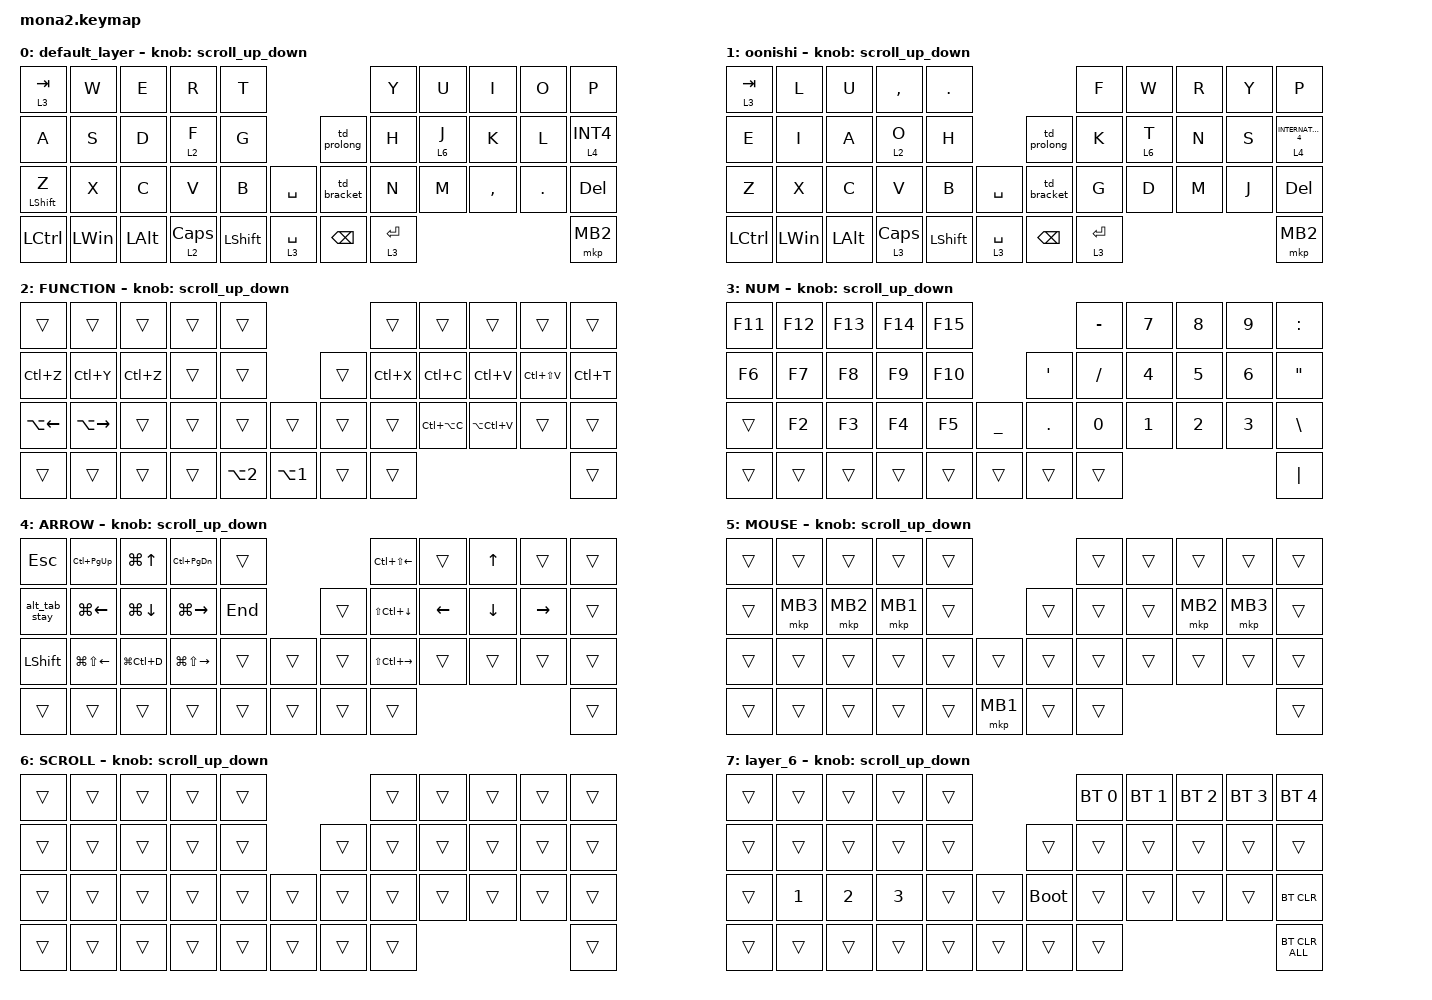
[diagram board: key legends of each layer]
// moNa2 用キーマップ（roBa のキーマップを移植）
//
// レイヤー構成は roBa と同じ:
//   0 default / 1 oonishi(大西) / 2 FUNCTION / 3 NUM / 4 ARROW / 5 MOUSE / 6 SCROLL / 7 BT
//
// roBa との違い:
//   - moNa2 には roBa の「左手中段の内側キー（roBa では MB3）」が無いので、その列を抜いている
//     → コンボのキー番号は 16 番以降を 1 つずつ詰めている
//   - トラボの自動マウス(5)・スクロール(6)の設定は keymap ではなく
//     boards/shields/mona2/mona2_r.overlay 側で設定している（moNa2 は &trackball が無いため）
// OS設定を日本語キーボードのまま使用するための変換定義

#define JP_DQUOTE       AT                // "
#define JP_AMPERSAND    CARET             // &
#define JP_QUOTE        AMPERSAND         // '
#define JP_EQUAL        UNDER             // =
#define JP_CARET        EQUAL             // ^
#define JP_YEN          0x89              // ¥
#define JP_PLUS         COLON             // +
#define JP_TILDE        PLUS              // ~
#define JP_PIPE         LS(0x89)          // |
#define JP_AT           LEFT_BRACKET      // @
#define JP_COLON        SINGLE_QUOTE      // :
#define JP_ASTERISK     DOUBLE_QUOTES     // *
#define JP_BACKQUOTE    LEFT_BRACE        // `
#define JP_UNDERSCORE   LS(0x87)          // _
#define JP_LBRACKET     RIGHT_BRACKET     // [
#define JP_RBRACKET     BACKSLASH         // ]
#define JP_LPAREN       ASTERISK          // (
#define JP_RPAREN       LEFT_PARENTHESIS  // )
#define JP_LBRACE       RIGHT_BRACE       // {
#define JP_RBRACE       PIPE              // }
#define JP_KANA         LANGUAGE_1        // かな
#define JP_EISU         LANGUAGE_2        // 英数
#define JP_HANZEN       GRAVE             // 半角/全角

// エンコーダーのスクロール量（pointing.h より前に書く必要がある）

#define ZMK_POINTING_DEFAULT_SCRL_VAL 100

#include <input/processors.dtsi>
#include <dt-bindings/zmk/input_transform.h>
#include <zephyr/dt-bindings/input/input-event-codes.h>
#include <behaviors.dtsi>
#include <dt-bindings/zmk/bt.h>
#include <dt-bindings/zmk/keys.h>
#include <dt-bindings/zmk/pointing.h>

&mt {
    flavor = "balanced";
    quick-tap-ms = <0>;
};

/ {
    combos {
        compatible = "zmk,combos";

        tab {
            bindings = <&kp TAB>;
            key-positions = <11 12>;
        };

        shift_tab {
            bindings = <&kp LS(TAB)>;
            key-positions = <12 13>;
        };

        muhennkann {
            bindings = <&to_layer_0 INT_MUHENKAN>;
            key-positions = <11 10>;
        };

        // L + 右端(INT4)

        double_quotation {
            bindings = <&kp DOUBLE_QUOTES>;
            key-positions = <19 20>;
        };

        // C + V

        eq {
            bindings = <&kp EQUAL>;
            key-positions = <23 24>;
        };

        attoma-ku {
            bindings = <&kp AT_SIGN>;
            key-positions = <8 9>;
        };

        // 左下段の内側(SPACE) + COMMA で BT レイヤー

        layer6 {
            bindings = <&mo 7>;
            key-positions = <27 30>;
        };

        // 標準(0)から大西(1)へ

        combo_to_onishi {
            timeout-ms = <50>;
            key-positions = <27 26>;
            bindings = <&to_onishi 1>;
            layers = <0 1>;
        };

        // 大西(1)から標準(0)へ
        // 大西配置(1)をOFFにすることで、下のレイヤー0を露出させる

        combo_to_default {
            timeout-ms = <50>;
            key-positions = <4 3>;
            bindings = <&to_default 1>;
            layers = <0 1>;
        };
    };

    macros {
        to_layer_0: to_layer_0 {
            compatible = "zmk,behavior-macro-one-param";
            #binding-cells = <1>;
            bindings = <&to 0 &macro_param_1to1 &kp MACRO_PLACEHOLDER>;
            label = "TO_LAYER_0";
        };

        // ( )

        parenthesis: parenthesis {
            compatible = "zmk,behavior-macro";
            #binding-cells = <0>;
            bindings = <&kp JP_LPAREN &kp JP_RPAREN &kp LEFT_ARROW>;
            label = "parenthesis";
        };

        // 【 】（日本語PCで [ ] の場所を打つと 【 】 が出ます）

        brace: brace {
            compatible = "zmk,behavior-macro";
            #binding-cells = <0>;
            bindings = <&kp JP_LBRACKET &kp JP_RBRACKET &kp LEFT_ARROW>;
            label = "brace";
        };

        // LALTを押し下げる -> TABを叩く (LALTは押し下げたまま終了)

        alt_tab_stay: alt_tab_stay {
            compatible = "zmk,behavior-macro";
            #binding-cells = <0>;
            bindings = <&macro_press>, <&kp LALT>, <&macro_tap>, <&kp TAB>;

            label = "ALT_TAB_STAY";
        };
    };

    behaviors {
        lt_to_layer_0: lt_to_layer_0 {
            compatible = "zmk,behavior-hold-tap";
            label = "LAYER_TAP_TO_0";
            bindings = <&mo>, <&to_layer_0>;

            #binding-cells = <2>;
            tapping-term-ms = <200>;
        };

        scroll_up_down: behavior_sensor_rotate_mouse_wheel_up_down {
            compatible = "zmk,behavior-sensor-rotate";
            #sensor-binding-cells = <0>;
            bindings = <&msc SCRL_DOWN>, <&msc SCRL_UP>;

            tap-ms = <20>;
        };

        // 1回なら丸カッコ、2回なら隅付きカッコ

        td_bracket: td_bracket {
            compatible = "zmk,behavior-tap-dance";
            label = "TAP_DANCE_BRACKET";
            #binding-cells = <0>;
            tapping-term-ms = <200>;
            bindings = <&parenthesis>, <&brace>;
        };

        // 1回で「ー」(MINUS)、2回で「～」(JP_TILDE)

        td_prolong: td_prolong {
            compatible = "zmk,behavior-tap-dance";
            #binding-cells = <0>;
            tapping-term-ms = <200>;
            bindings = <&kp MINUS>, <&kp JP_TILDE>;
        };

        // レイヤーを強制的にONにする

        to_onishi: to_onishi {
            compatible = "zmk,behavior-toggle-layer";
            #binding-cells = <1>;
            toggle-mode = "on";
        };

        // レイヤーを強制的にOFFにする

        to_default: to_default {
            compatible = "zmk,behavior-toggle-layer";
            #binding-cells = <1>;
            toggle-mode = "off";
        };
    };

    keymap {
        compatible = "zmk,keymap";

        // 0

        default_layer {
            bindings = <
&lt 3 TAB         &kp W         &kp E         &kp R           &kp T                                         &kp Y        &kp U    &kp I      &kp O    &kp P
&kp A             &kp S         &kp D         &lt 2 F         &kp G                          &td_prolong    &kp H        &lt 6 J  &kp K      &kp L    &lt 4 INT4
&mt LEFT_SHIFT Z  &kp X         &kp C         &kp V           &kp B           &kp SPACE      &td_bracket    &kp N        &kp M    &kp COMMA  &kp DOT  &kp DEL
&kp LCTRL         &kp LEFT_WIN  &kp LEFT_ALT  &lt 2 CAPSLOCK  &kp LEFT_SHIFT  &lt 3 SPACE    &kp BACKSPACE  &lt 3 ENTER                               &mkp MB2
            >;

            sensor-bindings = <&scroll_up_down>;
        };

        // 1

        oonishi {
            bindings = <
&lt 3 TAB  &kp L         &kp U         &kp COMMA   &kp PERIOD                                    &kp F        &kp W    &kp R  &kp Y  &kp P
&kp E      &kp I         &kp A         &lt 2 O     &kp H                          &td_prolong    &kp K        &lt 6 T  &kp N  &kp S  &lt 4 INTERNATIONAL_4
&kp Z      &kp X         &kp C         &kp V       &kp B           &kp SPACE      &td_bracket    &kp G        &kp D    &kp M  &kp J  &kp DELETE
&kp LCTRL  &kp LEFT_WIN  &kp LEFT_ALT  &lt 3 CAPS  &kp LEFT_SHIFT  &lt 3 SPACE    &kp BACKSPACE  &lt 3 ENTER                         &mkp MB2
            >;

            sensor-bindings = <&scroll_up_down>;
        };

        // 2

        FUNCTION {
            bindings = <
&trans              &trans               &trans     &trans  &trans                                        &trans     &trans         &trans         &trans         &trans
&kp LC(Z)           &kp LC(Y)            &kp LC(Z)  &trans  &trans                                &trans  &kp LC(X)  &kp LC(C)      &kp LC(V)      &kp LC(LS(V))  &kp LC(T)
&kp LA(LEFT_ARROW)  &kp LA(RIGHT_ARROW)  &trans     &trans  &trans            &trans              &trans  &trans     &kp LC(LA(C))  &kp LA(LC(V))  &trans         &trans
&trans              &trans               &trans     &trans  &kp LA(NUMBER_2)  &kp LA(NUMBER_1)    &trans  &trans                                                  &trans
            >;

            sensor-bindings = <&scroll_up_down>;
        };

        // 3

        NUM {
            bindings = <
&kp F11  &kp F12  &kp F13  &kp F14  &kp F15                                 &kp MINUS  &kp N7        &kp N8        &kp N9        &kp COLON
&kp F6   &kp F7   &kp F8   &kp F9   &kp F10               &kp SINGLE_QUOTE  &kp SLASH  &kp NUMBER_4  &kp N5        &kp NUMBER_6  &kp DOUBLE_QUOTES
&trans   &kp F2   &kp F3   &kp F4   &kp F5   &kp UNDER    &kp PERIOD        &kp N0     &kp NUMBER_1  &kp NUMBER_2  &kp NUMBER_3  &kp BACKSLASH
&trans   &trans   &trans   &trans   &trans   &trans       &trans            &trans                                               &kp PIPE
            >;

            sensor-bindings = <&scroll_up_down>;
        };

        // 4

        ARROW {
            bindings = <
&kp ESCAPE      &kp LC(PAGE_UP)         &kp LG(UP_ARROW)    &kp LC(PAGE_DOWN)        &trans                     &kp LC(LS(LEFT))        &trans          &kp UP_ARROW    &trans           &trans
&alt_tab_stay   &kp LG(LEFT_ARROW)      &kp LG(DOWN_ARROW)  &kp LG(RIGHT_ARROW)      &kp END            &trans  &kp LS(LC(DOWN_ARROW))  &kp LEFT_ARROW  &kp DOWN_ARROW  &kp RIGHT_ARROW  &trans
&kp LEFT_SHIFT  &kp LG(LS(LEFT_ARROW))  &kp LG(LC(D))       &kp LG(LS(RIGHT_ARROW))  &trans   &trans    &trans  &kp LS(LC(RIGHT))       &trans          &trans          &trans           &trans
&trans          &trans                  &trans              &trans                   &trans   &trans    &trans  &trans                                                                   &trans
            >;

            sensor-bindings = <&scroll_up_down>;
        };

        // 5: トラボを動かすと自動で入るマウスレイヤー
        //    roBa の親指 MB1 に加えて、moNa2 元設定の中段クリック (MB3/MB2/MB1) も残している

        MOUSE {
            bindings = <
&trans  &trans    &trans    &trans    &trans                      &trans  &trans  &trans    &trans    &trans
&trans  &mkp MB3  &mkp MB2  &mkp MB1  &trans              &trans  &trans  &trans  &mkp MB2  &mkp MB3  &trans
&trans  &trans    &trans    &trans    &trans  &trans      &trans  &trans  &trans  &trans    &trans    &trans
&trans  &trans    &trans    &trans    &trans  &mkp MB1    &trans  &trans                              &trans
            >;

            sensor-bindings = <&scroll_up_down>;
        };

        // 6: トラボがスクロールになるレイヤー（J / 大西の T 長押し）

        SCROLL {
            bindings = <
&trans  &trans  &trans  &trans  &trans                    &trans  &trans  &trans  &trans  &trans
&trans  &trans  &trans  &trans  &trans            &trans  &trans  &trans  &trans  &trans  &trans
&trans  &trans  &trans  &trans  &trans  &trans    &trans  &trans  &trans  &trans  &trans  &trans
&trans  &trans  &trans  &trans  &trans  &trans    &trans  &trans                          &trans
            >;

            sensor-bindings = <&scroll_up_down>;
        };

        // 7: BT（コンボで呼び出し）

        layer_6 {
            bindings = <
&trans  &trans        &trans        &trans        &trans                         &bt BT_SEL 0  &bt BT_SEL 1  &bt BT_SEL 2  &bt BT_SEL 3  &bt BT_SEL 4
&trans  &trans        &trans        &trans        &trans            &trans       &trans        &trans        &trans        &trans        &trans
&trans  &kp NUMBER_1  &kp NUMBER_2  &kp NUMBER_3  &trans  &trans    &bootloader  &trans        &trans        &trans        &trans        &bt BT_CLR
&trans  &trans        &trans        &trans        &trans  &trans    &trans       &trans                                                  &bt BT_CLR_ALL
            >;

            sensor-bindings = <&scroll_up_down>;
        };
    };
};
